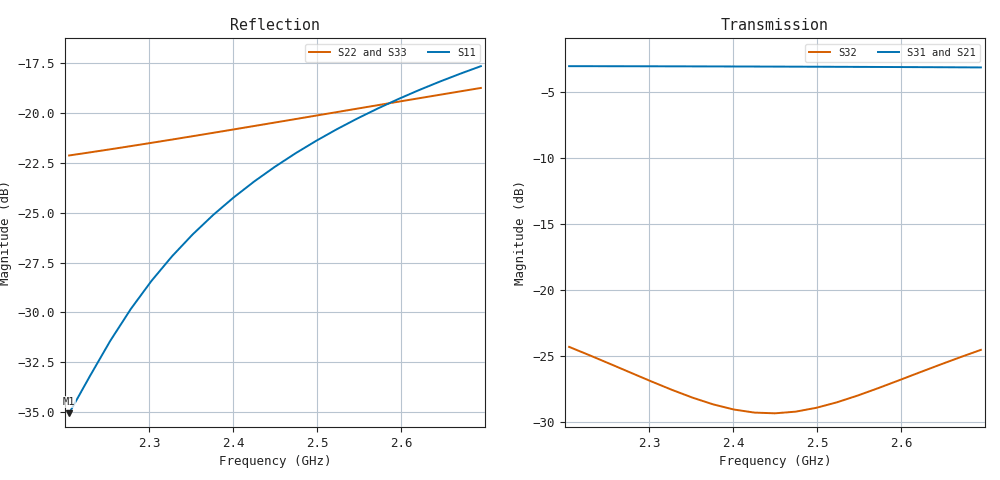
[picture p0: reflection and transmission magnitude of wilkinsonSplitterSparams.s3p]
# GHz S RI R 50
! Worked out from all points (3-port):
!   21 points, 2.205 GHz to 2.695 GHz, reference 50 ohm
!   strongest paths, dB at 2.205 GHz, 2.328 GHz, 2.45 GHz, 2.572 GHz, 2.695 GHz:
!     S31: -3.0, -3.1, -3.1, -3.1, -3.1
!     S21: -3.1, -3.1, -3.1, -3.1, -3.1
!     S32: -24.3, -27.6, -29.4, -27.5, -24.6
!   lowest |S11| = -35.1 dB at 2.205 GHz (marker M1), VSWR 1.04, Z = 49.2 - j1.56 ohm
!   |S11| at or under -10 dB: start of sweep to end of sweep
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2.205  -0.00785 -0.0158  -0.6914 -0.1315  -0.6922 -0.1297
       -0.6914 -0.1315  0.075 -0.0227  -0.0598 0.0107
       -0.6922 -0.1297  -0.0598 0.0107  0.0725 -0.0246
2.254  -0.0214 -0.0162  -0.6984 -0.0842  -0.6991 -0.0823
       -0.6984 -0.0842  0.076 -0.0286  -0.0493 0.0177
       -0.6991 -0.0823  -0.0493 0.0177  0.0734 -0.0305
2.303  -0.035 -0.0148  -0.7021 -0.0366  -0.7027 -0.0346
       -0.7021 -0.0366  0.0767 -0.035  -0.0383 0.0234
       -0.7027 -0.0346  -0.0383 0.0234  0.074 -0.0368
2.3765  -0.0548 -0.00929  -0.7013 0.0349  -0.7017 0.037
        -0.7013 0.0349  0.0769 -0.0454  -0.0214 0.0299
        -0.7017 0.037  -0.0214 0.0299  0.0741 -0.0471
2.4255  -0.0674 -0.00348  -0.6966 0.0822  -0.6969 0.0844
        -0.6966 0.0822  0.0765 -0.0528  -0.00989 0.0328
        -0.6969 0.0844  -0.00989 0.0328  0.0735 -0.0544
2.45  -0.0734 3.74e-05  -0.6931 0.1058  -0.6933 0.108
      -0.6931 0.1058  0.076 -0.0566  -0.00411 0.0338
      -0.6933 0.108  -0.00411 0.0338  0.0729 -0.0582
2.4745  -0.0792 0.00396  -0.6887 0.1291  -0.6888 0.1313
        -0.6887 0.1291  0.0754 -0.0605  0.00167 0.0345
        -0.6888 0.1313  0.00167 0.0345  0.0723 -0.0621
2.5235  -0.0902 0.0129  -0.6775 0.1752  -0.6775 0.1775
        -0.6775 0.1752  0.0736 -0.0686  0.0132 0.035
        -0.6775 0.1775  0.0132 0.035  0.0704 -0.0701
2.597  -0.1046 0.0291  -0.6548 0.2424  -0.6546 0.2447
       -0.6548 0.2424  0.0696 -0.0811  0.0302 0.0338
       -0.6546 0.2447  0.0302 0.0338  0.0661 -0.0825
2.695  -0.1193 0.0548  -0.6142 0.3272  -0.6137 0.3296
       -0.6142 0.3272  0.0612 -0.0982  0.0519 0.0284
       -0.6137 0.3296  0.0519 0.0284  0.0575 -0.0994
